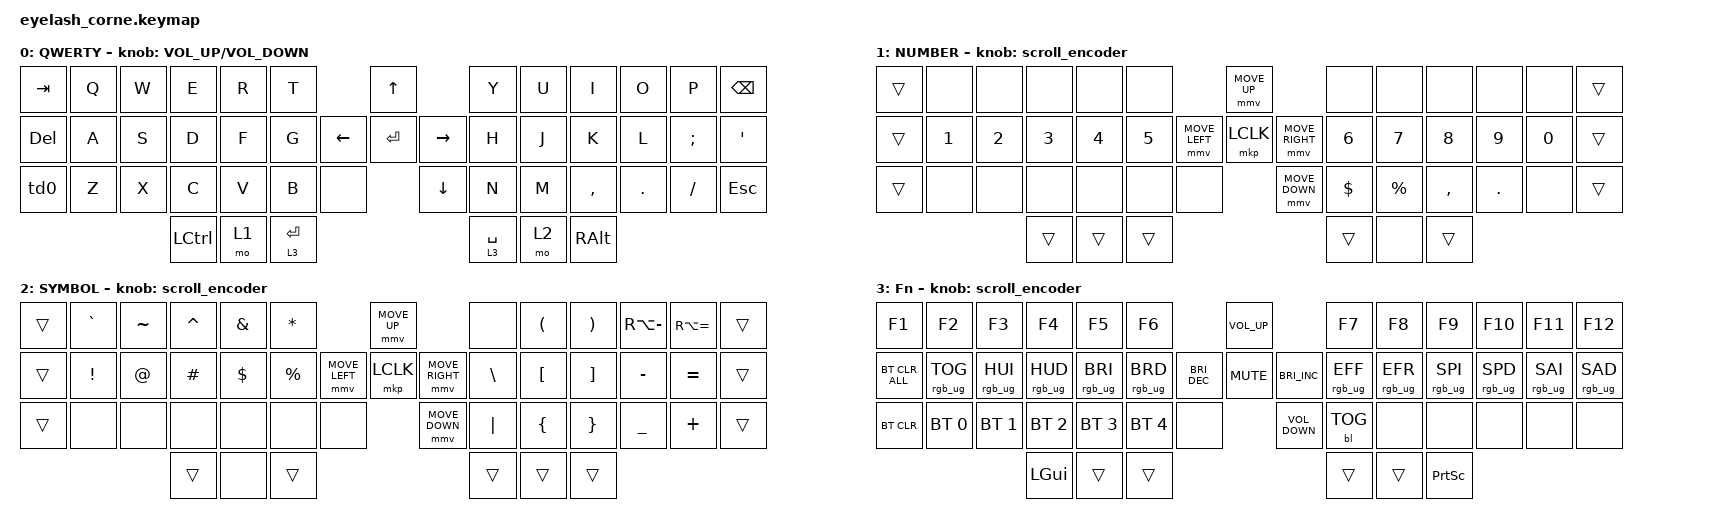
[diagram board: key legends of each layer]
#define ZMK_POINTING_DEFAULT_MOVE_VAL 1200  // 600
#define ZMK_POINTING_DEFAULT_SCRL_VAL 25   // 10

#include <input/processors.dtsi>
#include <zephyr/dt-bindings/input/input-event-codes.h>
#include <behaviors.dtsi>
#include <dt-bindings/zmk/backlight.h>
#include <dt-bindings/zmk/bt.h>
#include <dt-bindings/zmk/keys.h>
#include <dt-bindings/zmk/pointing.h>
#include <dt-bindings/zmk/rgb.h>

&mmv_input_listener { input-processors = <&zip_xy_scaler 2 1>; };

&msc_input_listener { input-processors = <&zip_scroll_scaler 2 1>; };

&msc {
    acceleration-exponent = <1>;      // 0
    time-to-max-speed-ms = <100>;       // 300
    delay-ms = <0>;                   // 0
};

&mmv {
    time-to-max-speed-ms = <500>;
    acceleration-exponent = <1>;
    trigger-period-ms = <16>;
};

&soft_off { hold-time-ms = <2000>; };

/ {
    behaviors {
        td0: td0 {
            compatible = "zmk,behavior-tap-dance";
            display-name = "Shift/Caps Lock Tap Dance";
            #binding-cells = <0>;
            bindings = <&kp LEFT_SHIFT>, <&kp CAPS>;
        };
    };

    rgb_encoder: rgb_encoder {
        compatible = "zmk,behavior-sensor-rotate";
        #sensor-binding-cells = <0>;
        bindings = <&rgb_ug RGB_BRI>, <&rgb_ug RGB_BRD>;
    };

    scroll_encoder: scroll_encoder {
        compatible = "zmk,behavior-sensor-rotate";
        #sensor-binding-cells = <0>;
        bindings = <&msc SCRL_DOWN>, <&msc SCRL_UP>;

        tap-ms = <100>;
    };

    combos {
        compatible = "zmk,combos";

        softoff {
            bindings = <&soft_off>;
            key-positions = <1 15 29>;
        };
    };

    keymap {
        compatible = "zmk,keymap";

        default_layer {
            display-name = "QWERTY";
            bindings = <
&kp TAB  &kp Q  &kp W  &kp E      &kp R  &kp T                           &kp UP                &kp Y        &kp U  &kp I      &kp O    &kp P     &kp BSPC
&kp DEL  &kp A  &kp S  &kp D      &kp F  &kp G                 &kp LEFT  &kp ENTER  &kp RIGHT  &kp H        &kp J  &kp K      &kp L    &kp SEMI  &kp SQT
&td0     &kp Z  &kp X  &kp C      &kp V  &kp B        &none              &kp DOWN              &kp N        &kp M  &kp COMMA  &kp DOT  &kp FSLH  &kp ESC
                       &kp LCTRL  &mo 1  &lt 3 ENTER                                           &lt 3 SPACE  &mo 2  &kp RALT
            >;

            sensor-bindings = <&inc_dec_kp C_VOLUME_UP C_VOLUME_DOWN>;
        };

        lower_layer {
            display-name = "NUMBER";
            bindings = <
&trans  &none         &none         &none         &none         &none                                  &mmv MOVE_UP                     &none         &none         &none         &none         &none         &trans
&trans  &kp NUMBER_1  &kp NUMBER_2  &kp NUMBER_3  &kp NUMBER_4  &kp NUMBER_5           &mmv MOVE_LEFT  &mkp LCLK       &mmv MOVE_RIGHT  &kp NUMBER_6  &kp NUMBER_7  &kp NUMBER_8  &kp NUMBER_9  &kp NUMBER_0  &trans
&trans  &none         &none         &none         &none         &none         &none                    &mmv MOVE_DOWN                   &kp DOLLAR    &kp PERCENT   &kp COMMA     &kp PERIOD    &none         &trans
                                    &trans        &trans        &trans                                                                  &trans        &none         &trans
            >;

            sensor-bindings = <&scroll_encoder>;
        };

        raise_layer {
            display-name = "SYMBOL";
            bindings = <
&trans  &kp GRAVE        &kp TILDE    &kp CARET  &kp AMPERSAND  &kp ASTERISK                           &mmv MOVE_UP                     &none          &kp LEFT_PARENTHESIS  &kp RIGHT_PARENTHESIS  &kp RA(MINUS)   &kp RA(EQUAL)  &trans
&trans  &kp EXCLAMATION  &kp AT_SIGN  &kp HASH   &kp DOLLAR     &kp PERCENT            &mmv MOVE_LEFT  &mkp LCLK       &mmv MOVE_RIGHT  &kp BACKSLASH  &kp LEFT_BRACKET      &kp RIGHT_BRACKET      &kp MINUS       &kp EQUAL      &trans
&trans  &none            &none        &none      &none          &none         &none                    &mmv MOVE_DOWN                   &kp PIPE       &kp LEFT_BRACE        &kp RIGHT_BRACE        &kp UNDERSCORE  &kp PLUS       &trans
                                      &trans     &none          &trans                                                                  &trans         &trans                &trans
            >;

            sensor-bindings = <&scroll_encoder>;
        };

        layer_3 {
            display-name = "Fn";
            bindings = <
&kp F1          &kp F2           &kp F3           &kp F4           &kp F5           &kp F6                                          &kp C_VOLUME_UP                          &kp F7           &kp F8           &kp F9           &kp F10          &kp F11          &kp F12
&bt BT_CLR_ALL  &rgb_ug RGB_TOG  &rgb_ug RGB_HUI  &rgb_ug RGB_HUD  &rgb_ug RGB_BRI  &rgb_ug RGB_BRD           &kp C_BRIGHTNESS_DEC  &kp C_MUTE         &kp C_BRIGHTNESS_INC  &rgb_ug RGB_EFF  &rgb_ug RGB_EFR  &rgb_ug RGB_SPI  &rgb_ug RGB_SPD  &rgb_ug RGB_SAI  &rgb_ug RGB_SAD
&bt BT_CLR      &bt BT_SEL 0     &bt BT_SEL 1     &bt BT_SEL 2     &bt BT_SEL 3     &bt BT_SEL 4     &none                          &kp C_VOLUME_DOWN                        &bl BL_TOG       &none            &none            &none            &none            &none
                                                  &kp LGUI         &trans           &trans                                                                                   &trans           &trans           &kp PRINTSCREEN
            >;

            sensor-bindings = <&scroll_encoder>;
        };
    };
};
